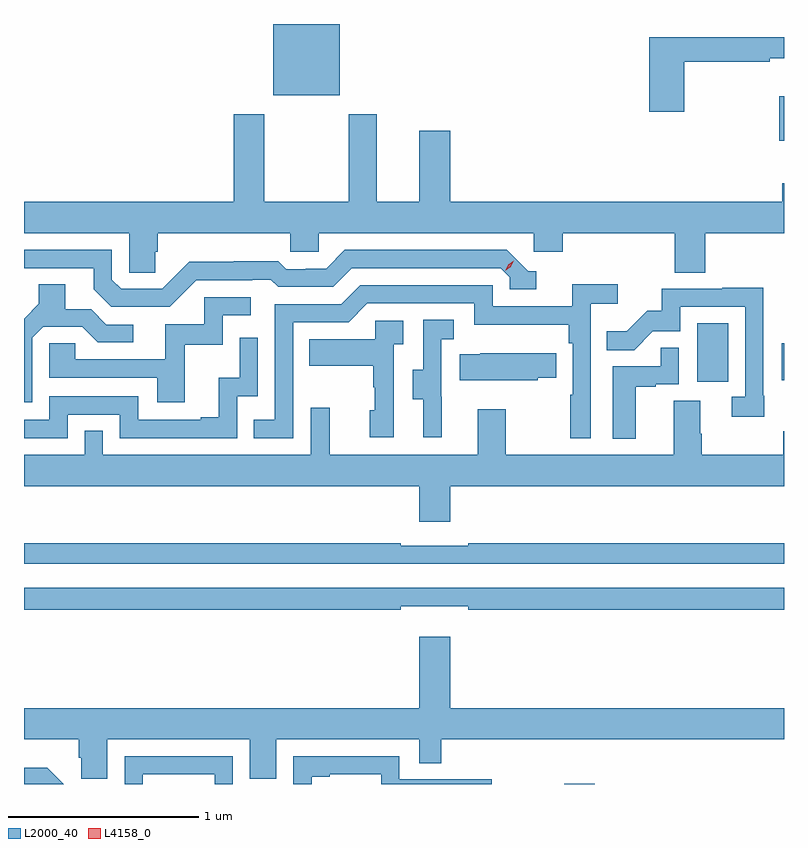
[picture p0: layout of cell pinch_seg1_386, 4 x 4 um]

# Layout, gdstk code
import gdstk
lib = gdstk.Library(unit=1e-6, precision=1e-09)
def R(c, l, rs):  # rectangles x0, y0, x1, y1
    for r in rs: c.add(gdstk.rectangle(r[:2], r[2:], *l))
def P(c, l, *ps):  # polygons
    for p in ps: c.add(gdstk.Polygon(p, *l))
L2000_40 = (2000, 40)
L4158_0 = (4158, 0)

pinch_seg1_386 = lib.new_cell('pinch_seg1_386')
R(pinch_seg1_386, L2000_40, [(1004.933,535.512,1005.094,535.513), (1005.632,537.63,1005.796,537.937), (1006.076,537.638,1006.089,537.832), (1006.064,538.897,1006.089,539.131), (1003.4,539.138,1003.75,539.512)])
P(pinch_seg1_386, L2000_40, [(1005.563,539.314),(1006.013,539.314),(1006.013,539.333),(1006.089,539.333),(1006.089,539.443),(1005.38,539.443),(1005.38,539.049),(1005.563,539.049)],
  [(1002.779,538.314),(1002.794,538.314),(1002.794,538.412),(1003.491,538.412),(1003.491,538.314),(1003.641,538.314),(1003.641,538.412),(1004.772,538.412),(1004.772,538.314),(1004.924,538.314),(1004.924,538.412),(1005.515,538.412),(1005.515,538.204),(1005.675,538.204),(1005.675,538.412),(1006.089,538.412),(1006.089,538.675),(1006.079,538.675),(1006.079,538.576),(1004.332,538.576),(1004.332,538.951),(1004.168,538.951),(1004.168,538.576),(1003.945,538.576),(1003.945,539.038),(1003.798,539.038),(1003.798,538.576),(1003.353,538.576),(1003.353,539.038),(1003.193,539.038),(1003.193,538.576),(1002.089,538.576),(1002.089,538.412),(1002.642,538.412),(1002.642,538.204),(1002.779,538.204)],
  [(1002.996,538.164),(1003.289,538.164),(1003.289,538.167),(1003.388,538.167),(1003.427,538.128),(1003.716,538.128),(1003.815,538.227),(1004.598,538.227),(1004.646,538.179),(1004.646,538.116),(1004.785,538.116),(1004.785,538.212),(1004.742,538.212),(1004.631,538.323),(1003.778,538.323),(1003.679,538.224),(1003.572,538.224),(1003.572,538.221),(1003.469,538.221),(1003.427,538.264),(1003.194,538.264),(1003.194,538.261),(1002.958,538.261),(1002.816,538.119),(1002.6,538.119),(1002.552,538.167),(1002.552,538.323),(1002.089,538.323),(1002.089,538.227),(1002.455,538.227),(1002.455,538.117),(1002.549,538.023),(1002.855,538.023)],
  [(1002.132,537.861),(1002.189,537.918),(1002.395,537.918),(1002.476,537.837),(1002.664,537.837),(1002.664,537.93),(1002.522,537.93),(1002.442,538.01),(1002.307,538.01),(1002.307,538.142),(1002.167,538.142),(1002.167,538.04),(1002.089,537.962),(1002.089,537.522),(1002.132,537.522)],
  [(1003.506,537.942),(1003.797,537.942),(1003.896,538.041),(1004.46,538.041),(1004.46,537.929),(1004.956,537.929),(1004.956,537.833),(1004.976,537.833),(1004.976,537.56),(1004.964,537.56),(1004.964,537.333),(1005.072,537.333),(1005.072,538.04),(1005.214,538.04),(1005.214,538.142),(1004.975,538.142),(1004.975,538.026),(1004.556,538.026),(1004.556,538.137),(1003.859,538.137),(1003.76,538.038),(1003.41,538.038),(1003.41,537.429),(1003.297,537.429),(1003.297,537.333),(1003.506,537.333)],
  [(1005.986,537.556),(1005.981,537.556),(1005.981,538.124),(1005.763,538.124),(1005.763,538.119),(1005.445,538.119),(1005.445,538.002),(1005.368,538.002),(1005.261,537.895),(1005.157,537.895),(1005.157,537.796),(1005.3,537.796),(1005.398,537.894),(1005.543,537.894),(1005.543,538.023),(1005.885,538.023),(1005.885,537.549),(1005.813,537.549),(1005.813,537.444),(1005.986,537.444)],
  [(1002.935,537.825),(1003.134,537.825),(1003.134,537.978),(1003.282,537.978),(1003.282,538.074),(1003.038,538.074),(1003.038,537.933),(1002.833,537.933),(1002.833,537.747),(1002.359,537.747),(1002.359,537.831),(1002.222,537.831),(1002.222,537.651),(1002.791,537.651),(1002.791,537.522),(1002.935,537.522)],
  [(1004.288,537.549),(1004.286,537.549),(1004.286,537.853),(1004.35,537.853),(1004.35,537.956),(1004.19,537.956),(1004.19,537.693),(1004.135,537.693),(1004.135,537.538),(1004.189,537.538),(1004.189,537.336),(1004.288,537.336)],
  [(1004.034,537.827),(1004.086,537.827),(1004.086,537.951),(1003.938,537.951),(1003.938,537.853),(1003.591,537.853),(1003.591,537.713),(1003.926,537.713),(1003.926,537.599),(1003.936,537.599),(1003.936,537.48),(1003.91,537.48),(1003.91,537.336),(1004.034,537.336)],
  [(1002.318,537.456),(1002.594,537.456),(1002.594,537.333),(1003.212,537.333),(1003.212,537.552),(1003.32,537.552),(1003.32,537.862),(1003.224,537.862),(1003.224,537.65),(1003.115,537.65),(1003.115,537.442),(1003.019,537.442),(1003.019,537.429),(1002.69,537.429),(1002.69,537.552),(1002.222,537.552),(1002.222,537.429),(1002.089,537.429),(1002.089,537.333),(1002.318,537.333)],
  [(1005.31,537.603),(1005.413,537.603),(1005.413,537.615),(1005.534,537.615),(1005.534,537.809),(1005.439,537.809),(1005.439,537.711),(1005.188,537.711),(1005.188,537.329),(1005.31,537.329)],
  [(1004.793,537.649),(1004.891,537.649),(1004.891,537.778),(1004.491,537.778),(1004.491,537.775),(1004.383,537.775),(1004.383,537.638),(1004.793,537.638)],
  [(1004.332,537.08),(1006.089,537.08),(1006.089,537.368),(1006.084,537.368),(1006.084,537.244),(1005.657,537.244),(1005.657,537.356),(1005.649,537.356),(1005.649,537.53),(1005.509,537.53),(1005.509,537.244),(1004.625,537.244),(1004.625,537.484),(1004.477,537.484),(1004.477,537.244),(1003.697,537.244),(1003.697,537.493),(1003.599,537.493),(1003.599,537.244),(1002.504,537.244),(1002.504,537.371),(1002.408,537.371),(1002.408,537.244),(1002.089,537.244),(1002.089,537.08),(1004.168,537.08),(1004.168,536.892),(1004.332,536.892)],
  [(1006.089,536.779),(1004.428,536.779),(1004.428,536.766),(1004.072,536.766),(1004.072,536.779),(1002.089,536.779),(1002.089,536.67),(1006.089,536.67)],
  [(1004.072,536.447),(1004.428,536.447),(1004.428,536.428),(1006.089,536.428),(1006.089,536.544),(1002.089,536.544),(1002.089,536.428),(1004.072,536.428)],
  [(1002.528,535.748),(1003.278,535.748),(1003.278,535.54),(1003.417,535.54),(1003.417,535.748),(1004.169,535.748),(1004.169,535.621),(1004.285,535.621),(1004.285,535.748),(1006.089,535.748),(1006.089,535.912),(1004.332,535.912),(1004.332,536.287),(1004.168,536.287),(1004.168,535.912),(1002.089,535.912),(1002.089,535.748),(1002.377,535.748),(1002.377,535.65),(1002.391,535.65),(1002.391,535.54),(1002.528,535.54)],
  [(1003.603,535.551),(1003.699,535.551),(1003.699,535.563),(1003.968,535.563),(1003.968,535.512),(1004.551,535.512),(1004.551,535.536),(1004.064,535.536),(1004.064,535.659),(1003.506,535.659),(1003.506,535.512),(1003.603,535.512)],
  [(1002.715,535.563),(1003.092,535.563),(1003.092,535.512),(1003.188,535.512),(1003.188,535.659),(1002.618,535.659),(1002.618,535.512),(1002.715,535.512)],
  [(1002.212,535.597),(1002.089,535.597),(1002.089,535.512),(1002.297,535.512)])
P(pinch_seg1_386, L4158_0, [(1004.622,538.213),(1004.622,538.213),(1004.637,538.246),(1004.667,538.267),(1004.667,538.267),(1004.667,538.267),(1004.652,538.234),(1004.622,538.213)])

lib.write_gds('pinch_seg1_386.gds')
